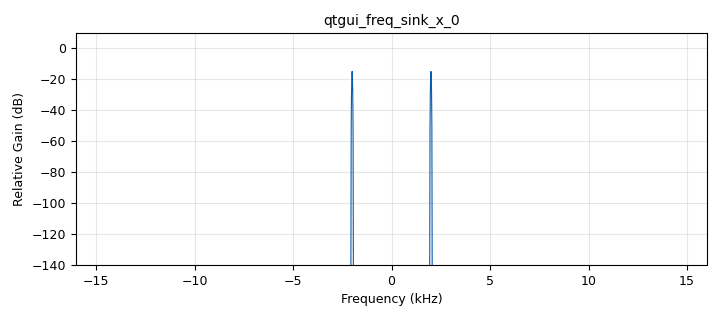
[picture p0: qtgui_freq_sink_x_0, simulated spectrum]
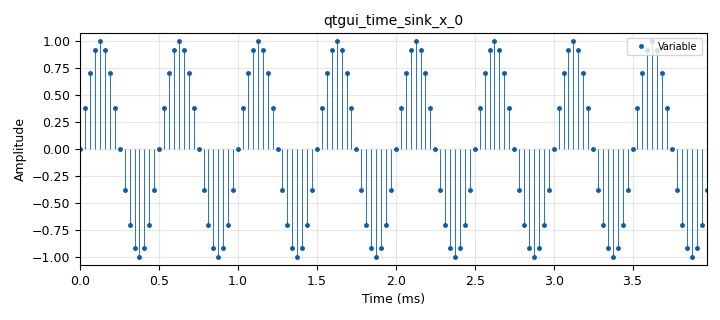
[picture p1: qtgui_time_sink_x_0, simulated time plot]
options:
  parameters:
    author: Cristian_Rugeles_Diana_Ariza_2_L1A
    generate_options: qt_gui
    id: ParteB_labcomu
    output_language: python
    title: TeoremaNyquist
  states: {}

blocks:
- name: freq
  id: variable_qtgui_range
  parameters:
    label: frequency
    start: '1000'
    step: '1000'
    stop: '40000'
    value: '2000'
  states: {}
- name: srate
  id: variable_qtgui_range
  parameters:
    label: samp_rate
    start: '1000'
    step: '1000'
    stop: '40000'
    value: '32000'
  states: {}
- name: analog_sig_source_x_0
  id: analog_sig_source_x
  parameters:
    amp: '1'
    freq: freq
    offset: '0'
    phase: '0'
    samp_rate: srate
    type: float
    waveform: analog.GR_SIN_WAVE
  states: {}
- name: blocks_throttle_0
  id: blocks_throttle
  parameters:
    samples_per_second: srate
    type: float
  states: {}
- name: qtgui_freq_sink_x_0
  id: qtgui_freq_sink_x
  parameters:
    bw: srate
    fc: '0'
    fftsize: '2048'
    type: float
  states: {}
- name: qtgui_time_sink_x_0
  id: qtgui_time_sink_x
  parameters:
    label1: Variable
    size: '128'
    srate: srate
    stemplot: 'True'
    type: float
  states: {}

connections:
- [analog_sig_source_x_0, '0', blocks_throttle_0, '0']
- [blocks_throttle_0, '0', qtgui_freq_sink_x_0, '0']
- [blocks_throttle_0, '0', qtgui_time_sink_x_0, '0']

metadata:
  file_format: 1
